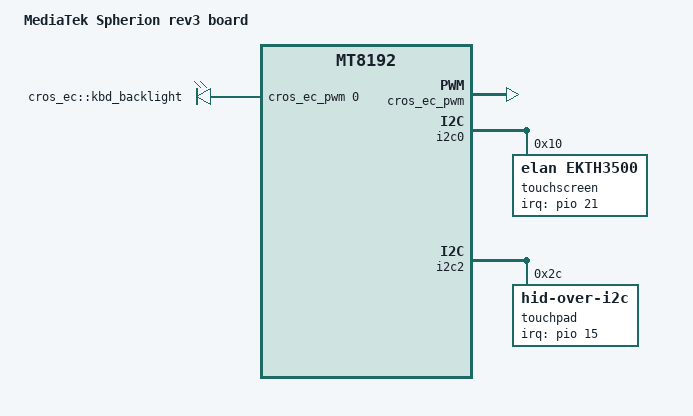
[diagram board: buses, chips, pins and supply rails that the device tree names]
// SPDX-License-Identifier: (GPL-2.0 OR MIT)
/*
 * Copyright 2021 Google LLC
 */
/dts-v1/;
#include "mt8192-asurada.dtsi"
#include "mt8192-asurada-audio-rt1015p-rt5682.dtsi"

/ {
	model = "MediaTek Spherion rev3 board";
	compatible = "google,spherion-rev3", "google,spherion", "mediatek,mt8192";

	pwmleds {
		compatible = "pwm-leds";
		keyboard_backlight: keyboard-backlight {
			label = "cros_ec::kbd_backlight";
			pwms = <&cros_ec_pwm 0>;
			max-brightness = <1023>;
		};
	};
};

&cros_ec_pwm {
	status = "okay";
};

&i2c0 {
	/* elan touchscreen */
	touchscreen: touchscreen@10 {
		compatible =  "elan,ekth3500";
		reg = <0x10>;
		interrupt-parent = <&pio>;
		interrupts = <21 IRQ_TYPE_LEVEL_LOW>;

		pinctrl-names = "default";
		pinctrl-0 = <&touchscreen_pins>;
	};
};

&i2c2 {
	/* synaptics touchpad */
	touchpad@2c {
		compatible = "hid-over-i2c";
		reg = <0x2c>;
		hid-descr-addr = <0x20>;

		pinctrl-names = "default";
		pinctrl-0 = <&touchpad_pins>;

		interrupt-parent = <&pio>;
		interrupts = <15 IRQ_TYPE_LEVEL_LOW>;

		wakeup-source;
	};
};

&keyboard_controller {
	function-row-physmap = <
		MATRIX_KEY(0x00, 0x02, 0)	/* T1 */
		MATRIX_KEY(0x03, 0x02, 0)	/* T2 */
		MATRIX_KEY(0x02, 0x02, 0)	/* T3 */
		MATRIX_KEY(0x01, 0x02, 0)	/* T4 */
		MATRIX_KEY(0x03, 0x04, 0)	/* T5 */
		MATRIX_KEY(0x02, 0x04, 0)	/* T6 */
		MATRIX_KEY(0x01, 0x04, 0)	/* T7 */
		MATRIX_KEY(0x02, 0x09, 0)	/* T8 */
		MATRIX_KEY(0x01, 0x09, 0)	/* T9 */
		MATRIX_KEY(0x00, 0x04, 0)	/* T10 */
	>;
	linux,keymap = <
		MATRIX_KEY(0x00, 0x02, KEY_BACK)
		MATRIX_KEY(0x03, 0x02, KEY_REFRESH)
		MATRIX_KEY(0x02, 0x02, KEY_ZOOM)
		MATRIX_KEY(0x01, 0x02, KEY_SCALE)
		MATRIX_KEY(0x03, 0x04, KEY_SYSRQ)
		MATRIX_KEY(0x02, 0x04, KEY_BRIGHTNESSDOWN)
		MATRIX_KEY(0x01, 0x04, KEY_BRIGHTNESSUP)
		MATRIX_KEY(0x02, 0x09, KEY_MUTE)
		MATRIX_KEY(0x01, 0x09, KEY_VOLUMEDOWN)
		MATRIX_KEY(0x00, 0x04, KEY_VOLUMEUP)

		CROS_STD_MAIN_KEYMAP
	>;
};

&mmc1 {
	status = "disabled";
};
